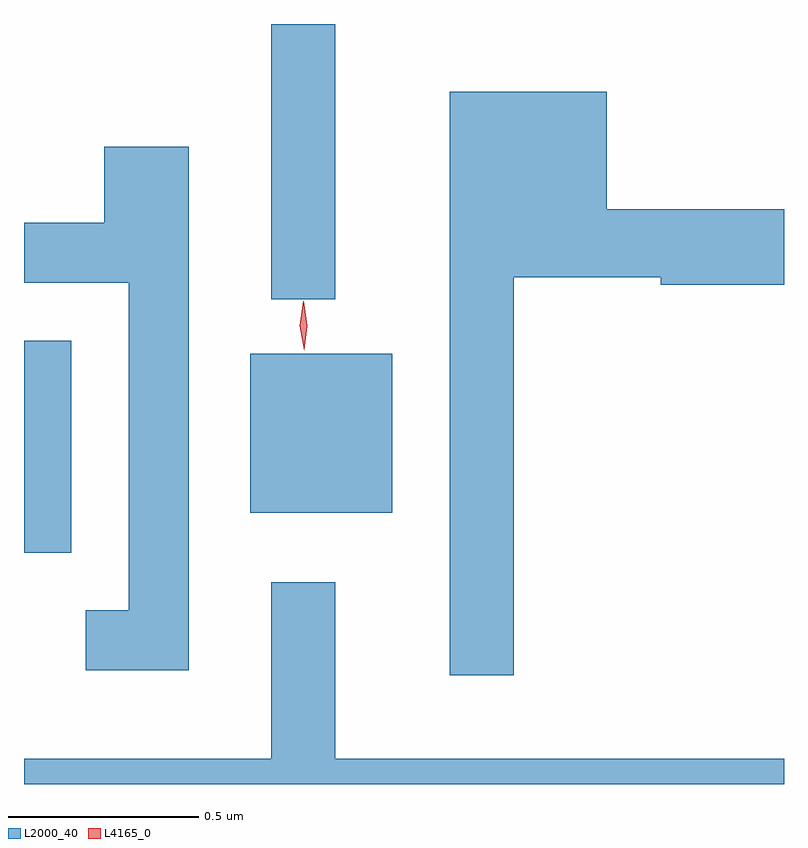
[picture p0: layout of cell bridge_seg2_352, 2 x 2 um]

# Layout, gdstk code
import gdstk
lib = gdstk.Library(unit=1e-6, precision=1e-09)
def R(c, l, rs):  # rectangles x0, y0, x1, y1
    for r in rs: c.add(gdstk.rectangle(r[:2], r[2:], *l))
def P(c, l, *ps):  # polygons
    for p in ps: c.add(gdstk.Polygon(p, *l))
L2000_40 = (2000, 40)
L4165_0 = (4165, 0)

bridge_seg2_352 = lib.new_cell('bridge_seg2_352')
R(bridge_seg2_352, L2000_40, [(444.47,993.626,444.594,994.184), (445.066,993.731,445.439,994.149), (445.121,994.293,445.289,995.017)])
P(bridge_seg2_352, L2000_40, [(445.759,994.351),(446.146,994.351),(446.146,994.331),(446.47,994.331),(446.47,994.529),(446.004,994.529),(446.004,994.839),(445.591,994.839),(445.591,993.303),(445.759,993.303)],
  [(444.904,994.694),(444.681,994.694),(444.681,994.494),(444.47,994.494),(444.47,994.336),(444.746,994.336),(444.746,993.474),(444.633,993.474),(444.633,993.316),(444.904,993.316)],
  [(446.47,993.084),(445.289,993.084),(445.289,993.548),(445.121,993.548),(445.121,993.084),(444.47,993.084),(444.47,993.017),(446.47,993.017)])
P(bridge_seg2_352, L4165_0, [(445.207,994.158),(445.207,994.159),(445.196,994.223),(445.205,994.287),(445.205,994.287),(445.206,994.287),(445.216,994.223),(445.208,994.159)])

lib.write_gds('bridge_seg2_352.gds')
